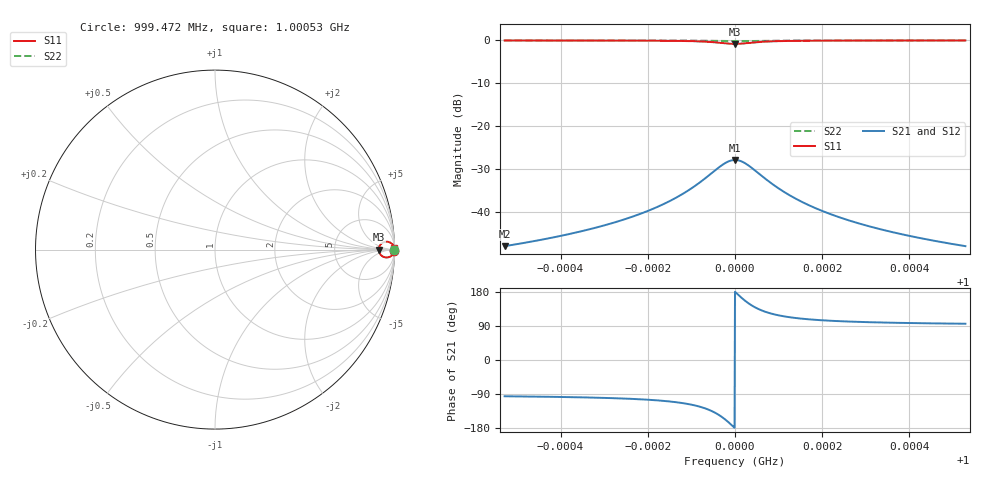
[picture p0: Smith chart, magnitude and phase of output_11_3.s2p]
! File generated for n1 = 11, n2 = 3
! b1 = 0.046416
! b2 = 0.010000
! Q0 = 10000.000000
! f0 = 1000000000.000000
! n = 1001
! rel_span = 10.000000
# Hz S RI R 50
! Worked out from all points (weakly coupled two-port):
!   1001 points, 999.472 MHz to 1.00053 GHz, reference 50 ohm
!   highest |S21| = -27.79 dB at 1 GHz (marker M1); lowest = -47.8 dB at 999.472 MHz (marker M2)
!   lowest |S11| = -0.8 dB at 1 GHz (marker M3), VSWR 21.76, Z = 1.09e+03 + j0 ohm
!   |S11| at or under -10 dB: nowhere
!   |S22| runs from -0.2 to 0.0 dB; largest |S21 - S12| = 0
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9.994718e8  0.9991 -0.0087  -0.000404 -0.00404  -0.000404 -0.00404  0.9998 -0.00187
9.995626e8  0.9987 -0.0105  -0.000586 -0.00485  -0.000586 -0.00485  0.9997 -0.00225
9.996482e8  0.9981 -0.0129  -0.000899 -0.00599  -0.000899 -0.00599  0.9996 -0.00278
9.997454e8  0.9964 -0.0175  -0.00168 -0.00811  -0.00168 -0.00811  0.9992 -0.00377
9.998246e8  0.9927 -0.0243  -0.00339 -0.0113  -0.00339 -0.0113  0.9984 -0.00523
9.998595e8  0.9891 -0.0289  -0.00505 -0.0134  -0.00505 -0.0134  0.9977 -0.00624
9.998912e8  0.9832 -0.0345  -0.00778 -0.016  -0.00778 -0.016  0.9964 -0.00744
9.999197e8  0.9735 -0.0403  -0.0123 -0.0187  -0.0123 -0.0187  0.9943 -0.00869
9.999546e8  0.9495 -0.0434  -0.0234 -0.0202  -0.0234 -0.0202  0.9891 -0.00936
9.99981e8  0.9222 -0.028  -0.0361 -0.013  -0.0361 -0.013  0.9832 -0.00603
1e9  0.9121 0  -0.0408 0  -0.0408 0  0.9811 0
1.00001e9  0.9149 0.0153  -0.0395 0.00711  -0.0395 0.00711  0.9817 0.0033
1.00002e9  0.9232 0.0292  -0.0356 0.0135  -0.0356 0.0135  0.9835 0.00629
1.000046e9  0.9505 0.0436  -0.023 0.0202  -0.023 0.0202  0.9893 0.00939
1.000081e9  0.9739 0.0401  -0.0121 0.0186  -0.0121 0.0186  0.9944 0.00865
1.00011e9  0.9835 0.0343  -0.00766 0.0159  -0.00766 0.0159  0.9964 0.00739
1.000142e9  0.9893 0.0288  -0.00499 0.0134  -0.00499 0.0134  0.9977 0.0062
1.000176e9  0.9928 0.0241  -0.00336 0.0112  -0.00336 0.0112  0.9984 0.0052
1.000256e9  0.9964 0.0174  -0.00167 0.00808  -0.00167 0.00808  0.9992 0.00375
1.000353e9  0.9981 0.0129  -0.000894 0.00597  -0.000894 0.00597  0.9996 0.00277
1.000438e9  0.9987 0.0104  -0.000584 0.00484  -0.000584 0.00484  0.9997 0.00225
1.000528e9  0.9991 0.0087  -0.000404 0.00404  -0.000404 0.00404  0.9998 0.00187
